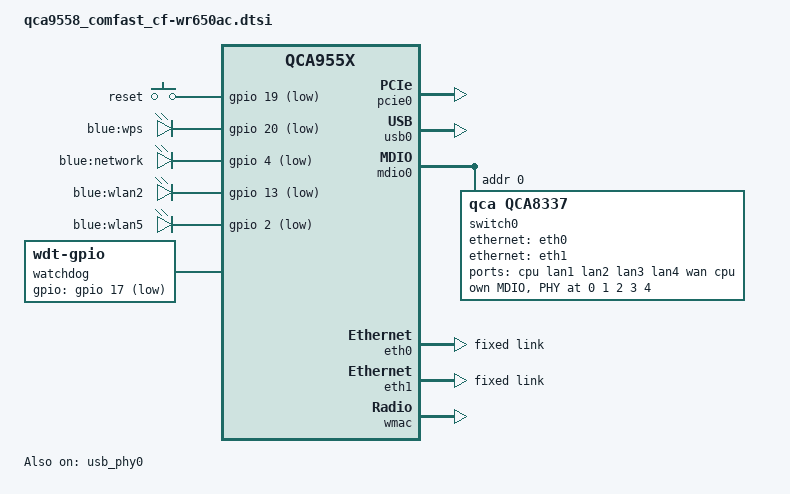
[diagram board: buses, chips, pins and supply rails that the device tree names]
// SPDX-License-Identifier: GPL-2.0-or-later OR MIT

#include "qca955x.dtsi"

#include <dt-bindings/gpio/gpio.h>
#include <dt-bindings/input/input.h>

/ {
	keys {
		compatible = "gpio-keys";

		reset {
			label = "reset";
			linux,code = <KEY_RESTART>;
			gpios = <&gpio 19 GPIO_ACTIVE_LOW>;
			debounce-interval = <60>;
		};
	};

	leds {
		compatible = "gpio-leds";

		wps {
			label = "blue:wps";
			gpios = <&gpio 20 GPIO_ACTIVE_LOW>;
		};

		network {
			label = "blue:network";
			gpios = <&gpio 4 GPIO_ACTIVE_LOW>;
		};

		wlan2g {
			label = "blue:wlan2";
			gpios = <&gpio 13 GPIO_ACTIVE_LOW>;
			linux,default-trigger = "phy1tpt";
		};

		wlan5g {
			label = "blue:wlan5";
			gpios = <&gpio 2 GPIO_ACTIVE_LOW>;
			linux,default-trigger = "phy0tpt";
		};
	};

	watchdog {
		compatible = "linux,wdt-gpio";
		gpios = <&gpio 17 GPIO_ACTIVE_LOW>;
		hw_algo = "toggle";
		hw_margin_ms = <500>;
		always-running;
	};
};

&pcie0 {
	status = "okay";
};

&usb_phy0 {
	status = "okay";
};

&usb0 {
	status = "okay";
};

&mdio0 {
	status = "okay";

	switch0@10 {
		compatible = "qca,qca8337";
		#address-cells = <1>;
		#size-cells = <0>;

		reg = <0>;
		qca,ignore-power-on-sel;
		qca,led-open-drain;

		ports {
			#address-cells = <1>;
			#size-cells = <0>;

			port@0 {
				reg = <0>;
				label = "cpu";
				ethernet = <&eth0>;
				phy-mode = "rgmii-id";

				fixed-link {
					speed = <1000>;
					full-duplex;
				};
			};

			port@1 {
				reg = <1>;
				label = "lan1";
				phy-mode = "internal";
				phy-handle = <&phy_port1>;
			};

			port@2 {
				reg = <2>;
				label = "lan2";
				phy-mode = "internal";
				phy-handle = <&phy_port2>;
			};

			port@3 {
				reg = <3>;
				label = "lan3";
				phy-mode = "internal";
				phy-handle = <&phy_port3>;
			};

			port@4 {
				reg = <4>;
				label = "lan4";
				phy-mode = "internal";
				phy-handle = <&phy_port4>;
			};

			port@5 {
				reg = <5>;
				label = "wan";
				phy-mode = "internal";
				phy-handle = <&phy_port5>;
			};

			port@6 {
				reg = <6>;
				label = "cpu";
				ethernet = <&eth1>;
				phy-mode = "sgmii";
				qca,sgmii-rxclk-falling-edge;

				fixed-link {
					speed = <1000>;
					full-duplex;
				};
			};
		};

		mdio {
			#address-cells = <1>;
			#size-cells = <0>;

			phy_port1: phy@0 {
				reg = <0>;
			};

			phy_port2: phy@1 {
				reg = <1>;
			};

			phy_port3: phy@2 {
				reg = <2>;
			};

			phy_port4: phy@3 {
				reg = <3>;
			};

			phy_port5: phy@4 {
				reg = <4>;
			};
		};
	};
};

&eth0 {
	status = "okay";

	pll-data = <0xa6000000 0x00000101 0x00001616>;

	fixed-link {
		speed = <1000>;
		full-duplex;
	};
};

&eth1 {
	status = "okay";

	pll-data = <0x03000101 0x00000101 0x00001616>;

	fixed-link {
		speed = <1000>;
		full-duplex;
	};
};

&wmac {
	status = "okay";
};

// This node is required for the Ethernet ports to work correctly.
&gpio {
	status = "okay";
};
